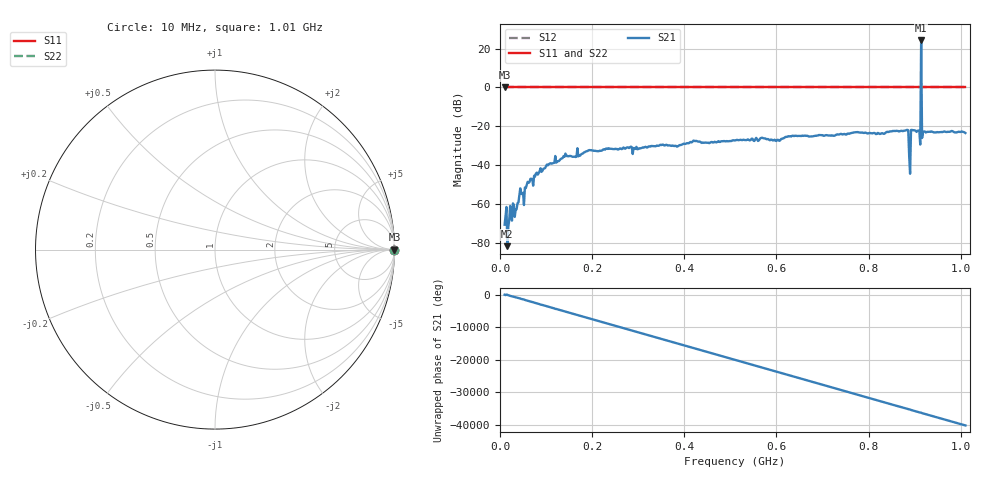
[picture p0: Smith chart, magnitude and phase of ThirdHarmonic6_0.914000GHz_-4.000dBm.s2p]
! 8/16/2025 5:53:23 AM
! C:\ANRITSUVNA\TEMP\TEMP.S2P
! CHANNEL.1
! TR.MEASUREMENT
! RAW.DATA
! RF.CORRECTION.OFF
! AVERAGING.OFF
! IF.BANDWIDTH: 5KHZ
! SWEEPTYPE:  FREQ.SWEEP(Linear)
! Reference Plane Port Info
! PORT:  PORT1  PORT2
! DISTANCE:  0  m  0  m
! TIME:  0  s  0  s
! PHASE.OFFSET:  0  deg.  0  deg.
! LOSS:  0  dB  0  dB
! REF.LOSS:  0  dB  0  dB
! REF.FREQ:  0  Hz  0  Hz
! Power Info
! POWER:  -20  dBm  -20  dBm
! EFF.POWER:  -20  dBm  -20  dBm
! SOURCE.ATTEN:  0  dB  0  dB
! TEST.ATTEN:  0  dB  0  dB
# GHZ S RI R 50.0
! FREQ.GHZ  S11RE  S11IM  S21RE  S21IM  S12RE  S12IM  S22RE  S22IM
!; PortSelection: Port_12
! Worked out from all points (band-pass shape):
!   501 points, 10 MHz to 1.01 GHz, reference 50 ohm
!   highest |S21| = 24.16 dB at 914 MHz (marker M1); lowest = -81.8 dB at 16 MHz (marker M2)
!   |S21| within 3 dB of the highest: 913.8881 MHz to 914.1195 MHz (231.4 kHz wide, 0.0253 % of centre)
!   lowest |S11| = 0.0 dB at 10 MHz (marker M3)
!   |S11| at or under -10 dB: nowhere
!   |S22| runs from 0.0 to 0.0 dB; largest |S21 - S12| = 17
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0.01  1 0  0.000276 -9.58e-05  1 0  1 0
0.016  1 0  6.52e-05 -4.91e-05  1 0  1 0
0.026  1 0  -0.000346 -0.000134  1 0  1 0
0.036  1 0  -0.000699 -0.000193  1 0  1 0
0.046  1 0  -0.00146 0.00104  1 0  1 0
0.084  1 0  0.00476 0.00397  1 0  1 0
0.142  1 0  -0.0169 -0.0103  1 0  1 0
0.178  1 0  -0.0188 -0.00506  1 0  1 0
0.344  1 0  0.031 -0.00404  1 0  1 0
0.51  1 0  -0.0418 0.0102  1 0  1 0
0.678  1 0  -0.0144 -0.0527  1 0  1 0
0.844  1 0  0.0382 0.0604  1 0  1 0
0.882  1 0  0.0654 -0.0454  1 0  1 0
0.886  1 0  -0.074 0.0264  1 0  1 0
0.892  1 0  0.0137 -0.079  1 0  1 0
0.896  1 0  -0.0348 0.0707  1 0  1 0
0.908  1 0  0.0753 -0.0101  1 0  1 0
0.91  1 0  0.0021 -0.0783  1 0  1 0
0.914  1 0  -15.41 4.827  1 0  1 0
0.918  1 0  0.045 -0.056  1 0  1 0
0.92  1 0  -0.048 -0.0542  1 0  1 0
1.01  1 0  -0.0607 -0.0279  1 0  1 0
